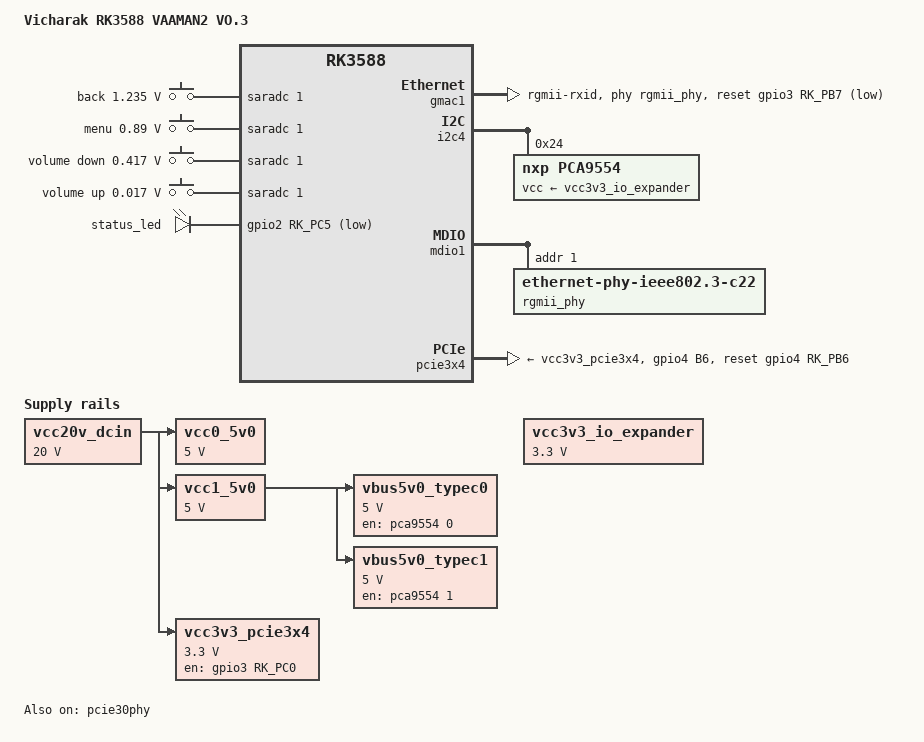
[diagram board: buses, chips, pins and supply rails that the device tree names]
// SPDX-License-Identifier: (GPL-2.0+ OR MIT)
/*
 * Copyright (c) 2026 Vicharak Computers Pvt. Ltd
 *
 */

/dts-v1/;
#include "rk3588.dtsi"
#include "rk3588-vaaman2-u-boot.dtsi"
#include <dt-bindings/input/input.h>

/ {
	model = "Vicharak RK3588 VAAMAN2 VO.3";
	compatible = "vicharak,rk3588-vaaman2", "rockchip,rk3588";

	adc-keys {
		u-boot,dm-pre-reloc;
		compatible = "adc-keys";
		io-channels = <&saradc 1>;
		io-channel-names = "buttons";
		keyup-threshold-microvolt = <1800000>;
		status = "okay";

		back-key {
			u-boot,dm-pre-reloc;
			label = "back";
			linux,code = <KEY_BACK>;
			press-threshold-microvolt = <1235000>;
		};

		menu-key {
			u-boot,dm-pre-reloc;
			label = "menu";
			linux,code = <KEY_MENU>;
			press-threshold-microvolt = <890000>;
		};

		vol-down-key {
			u-boot,dm-pre-reloc;
			label = "volume down";
			linux,code = <KEY_VOLUMEDOWN>;
			press-threshold-microvolt = <417000>;
		};

		vol-up-key {
			u-boot,dm-pre-reloc;
			label = "volume up";
			linux,code = <KEY_VOLUMEUP>;
			press-threshold-microvolt = <17000>;
		};
	};

	leds {
		u-boot,dm-pre-reloc;
		compatible = "gpio-leds";
		status = "okay";

		status_led: status-led {
			u-boot,dm-pre-reloc;
			function = "status";
			gpios = <&gpio2 RK_PC5 GPIO_ACTIVE_LOW>;
			default-state = "on";
			linux,default-trigger = "heartbeat";
			retain-state-suspended;
		};
	};

	vbus5v0_typec0: vbus5v0-typec0-regulator {
		compatible = "regulator-fixed";
		regulator-name = "vbus5v0_typec0";
		regulator-boot-on;
		regulator-min-microvolt = <5000000>;
		regulator-max-microvolt = <5000000>;
		enable-active-high;
		gpio = <&pca9554 0 GPIO_ACTIVE_HIGH>;
		vin-supply = <&vcc1_5v0>;
	};

	vbus5v0_typec1: vbus5v0-typec1-regulator {
		compatible = "regulator-fixed";
		regulator-name = "vbus5v0_typec1";
		regulator-boot-on;
		regulator-min-microvolt = <5000000>;
		regulator-max-microvolt = <5000000>;
		enable-active-high;
		gpio = <&pca9554 1 GPIO_ACTIVE_HIGH>;
		vin-supply = <&vcc1_5v0>;
	};

	vcc0_5v0: vcc5v0_sys: vcc0-5v0-regulator {
		compatible = "regulator-fixed";
		regulator-name = "vcc0_5v0";
		regulator-always-on;
		regulator-boot-on;
		regulator-min-microvolt = <5000000>;
		regulator-max-microvolt = <5000000>;
		vin-supply = <&vcc20v_dcin>;
	};

	vcc1_5v0: vcc1-5v0-regulator {
		compatible = "regulator-fixed";
		regulator-name = "vcc1_5v0";
		regulator-always-on;
		regulator-boot-on;
		regulator-min-microvolt = <5000000>;
		regulator-max-microvolt = <5000000>;
		vin-supply = <&vcc20v_dcin>;
	};

	vcc20v_dcin: vcc20v-dcin {
		u-boot,dm-pre-reloc;
		compatible = "regulator-fixed";
		regulator-name = "vcc20v_dcin";
		regulator-always-on;
		regulator-boot-on;
		regulator-min-microvolt = <20000000>;
		regulator-max-microvolt = <20000000>;
	};

	vcc3v3_io_expander: vcc3v3-io-expander {
		compatible = "regulator-fixed";
		regulator-name = "vcc3v3_io_expander";
		regulator-always-on;
		regulator-boot-on;
		regulator-min-microvolt = <3300000>;
		regulator-max-microvolt = <3300000>;
		enable-active-high;
	};

	vcc3v3_pcie3x4: vcc3v3-pcie3x4 {
		u-boot,dm-pre-reloc;
		compatible = "regulator-fixed";
		regulator-name = "vcc3v3_pcie3x4";
		regulator-always-on;
		regulator-boot-on;
		regulator-min-microvolt = <3300000>;
		regulator-max-microvolt = <3300000>;
		enable-active-high;
		gpio = <&gpio3 RK_PC0 GPIO_ACTIVE_HIGH>;
		//startup-delay-us = <5000>;
		vin-supply = <&vcc20v_dcin>;
	};
};

&gmac1 {
	clock_in_out = "output";
	phy-handle = <&rgmii_phy>;
	phy-mode = "rgmii-rxid";
	// phy-supply = <&vcc_3v3_s3>;
	pinctrl-names = "default";
	pinctrl-0 = <&gmac1_rgmii_bus
		     &gmac1_rgmii_clk
		     &gmac1_rx_bus2
		     &gmac1_tx_bus2
		     &gmac1_miim>;
	rx_delay = <0x00>;
	tx_delay = <0x43>;
	snps,reset-active-low;
	snps,reset-delays-us = <0 20000 100000>;
	snps,reset-gpio = <&gpio3 RK_PB7 GPIO_ACTIVE_LOW>;
	status = "okay";
};

&i2c4 {
	u-boot,dm-pre-reloc;
	pinctrl-names = "default";
	pinctrl-0 = <&i2c4m2_xfer>;
	status = "okay";

	pca9554: gpio@24 {
		u-boot,dm-pre-reloc;
		compatible = "nxp,pca9554";
		reg = <0x24>;
		#gpio-cells = <2>;
		gpio-controller;
		gpio-group-num = <300>;
		vcc-supply = <&vcc3v3_io_expander>;
		status = "okay";
	};
};

&mdio1 {
	rgmii_phy: phy@1 {
		compatible = "ethernet-phy-ieee802.3-c22";
		reg = <0x1>;
	};
};

&pcie30phy {
	u-boot,dm-pre-reloc;
	status = "okay";
};

&pcie3x4 {
	u-boot,dm-pre-reloc;
	pinctrl-0 = <&pcie3x4_reset>;
	reset-gpios = <&gpio4 RK_PB6 GPIO_ACTIVE_HIGH>;
	vpcie3v3-supply = <&vcc3v3_pcie3x4>;
	status = "okay";
};

&pinctrl {
	pcie3x4 {
		pcie3x4_reset: pcie3x4-reset {
			rockchip,pins = <4 RK_PB6 RK_FUNC_GPIO &pcfg_pull_none>;
		};
	};
};
